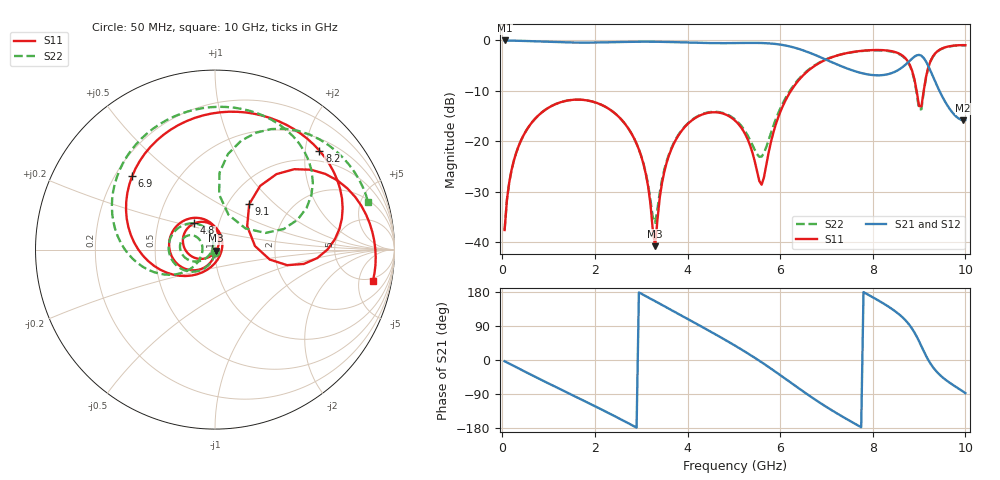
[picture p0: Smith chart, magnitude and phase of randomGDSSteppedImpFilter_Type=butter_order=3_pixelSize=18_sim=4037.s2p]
! freq	dB(S11)	phase(S11)	dB(S12)	phase(S12)
!  dB(S21)	phase(S21)	dB(S22)	phase(S22)
!S-par simulation data
#  GHz  S  DB  R 50
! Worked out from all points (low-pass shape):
!   200 points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, 50 MHz to 10 GHz, reference 50 ohm
!   highest |S21| = -0.01 dB at 50 MHz (marker M1); lowest = -15.8 dB at 9.95 GHz (marker M2)
!   |S21| within 3 dB of the highest: start of sweep to 6.787 GHz; 8.94 GHz to 9.042 GHz (102.5 MHz wide, 1.14 % of centre)
!   lowest |S11| = -40.8 dB at 3.3 GHz (marker M3), VSWR 1.02, Z = 50.6 - j0.67 ohm
!   |S11| at or under -10 dB: start of sweep to 6.233 GHz; 8.947 GHz to 9.1 GHz (153.4 MHz wide, 1.7 % of centre)
!   |S22| runs from -37.6 to -1.0 dB; largest |S21 - S12| = 0
!   S11 on the Smith chart (normalised r, x): 50 MHz: 1.00, -0.03; 4.8 GHz: 0.76, +0.23; 6.9 GHz: 0.27, +0.35; 8.2 GHz: 0.74, +2.30; 9.1 GHz: 1.25, +0.70; 10 GHz: 4.41, -7.80
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0.05  -37.59 -93.1  -0.01 -3.2  -0.01 -3.2  -37.58 -92.8
0.2  -25.70 -103.0  -0.03 -12.7  -0.03 -12.7  -25.69 -102.1
0.5  -18.13 -123.0  -0.11 -31.4  -0.11 -31.4  -18.13 -120.6
1.75  -11.79 158.0  -0.43 -106.8  -0.43 -106.8  -11.79 167.5
2.85  -19.50 83.6  -0.27 -175.2  -0.27 -175.2  -19.49 108.1
3.3  -40.79 -46.5  -0.26 155.2  -0.26 155.2  -36.19 173.7
3.4  -31.21 -112.2  -0.27 148.6  -0.27 148.6  -30.18 -142.5
3.9  -17.60 -162.2  -0.39 115.2  -0.39 115.2  -17.49 -150.3
4.8  -14.61 128.1  -0.54 54.0  -0.54 54.0  -14.48 161.3
5.05  -16.10 106.1  -0.52 36.2  -0.52 36.2  -15.86 150.0
5.6  -28.61 -21.3  -0.51 -6.0  -0.51 -6.0  -23.03 -174.4
6.05  -13.16 -138.0  -0.89 -44.0  -0.89 -44.0  -12.58 -145.6
6.7  -5.33 156.2  -2.67 -100.0  -2.67 -100.0  -5.21 171.9
6.9  -4.20 138.5  -3.45 -116.1  -3.45 -116.1  -4.13 157.5
7.55  -2.32 87.9  -5.90 -163.8  -5.90 -163.8  -2.34 113.8
8.2  -1.92 43.5  -6.89 151.4  -6.89 151.4  -1.99 72.6
8.35  -2.04 33.1  -6.64 140.0  -6.64 140.0  -2.13 62.5
8.85  -6.01 -9.2  -3.60 82.5  -3.60 82.5  -6.20 19.9
9.1  -10.00 53.0  -3.48 23.4  -3.48 23.4  -10.24 85.7
9.4  -2.11 29.4  -9.21 -33.4  -9.21 -33.4  -2.17 59.7
9.95  -0.93 -8.4  -15.81 -83.2  -15.81 -83.2  -0.97 20.1
10  -0.95 -11.1  -15.78 -87.6  -15.78 -87.6  -0.98 17.1
